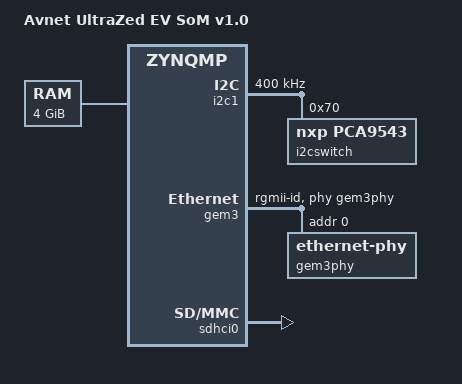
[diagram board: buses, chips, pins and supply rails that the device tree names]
// SPDX-License-Identifier: GPL-2.0+ OR X11

/*
 * UltraZed-EV SoM v1
 * http://ultrazed.org/product/ultrazed-ev
 */

/dts-v1/;

#include "zynqmp.dtsi"
#include "zynqmp-clk-ccf.dtsi"

/ {
	model = "Avnet UltraZed EV SoM v1.0";
	compatible = "avnet,ultrazedev-som-v1.0", "xlnx,zynqmp";
	memory {
		device_type = "memory";
		reg = <0x0 0x0 0x0 0x80000000>, /* 2 GB @ offset 0 */
		      <0x8 0x0 0x0 0x80000000>; /* 2 GB @ offset 32GB */
	};
};

&i2c1 {
	clock-frequency = <400000>;
	status = "okay";

	i2cswitch@70 {
		compatible = "nxp,pca9543";
		#address-cells = <1>;
		#size-cells = <0>;
		reg = <0x70>;

		/* I2C connected to Carrier Card via JX3A1/JX3C1 */
		i2c_cc: i2c@0 {
			reg = <0>;
			#address-cells = <1>;
			#size-cells = <0>;
		};
	};
};

/* Marvell 88E1512-A0-NNP2I000 Ethernet PHY */
&gem3 {
	phy-mode = "rgmii-id";
	phy-handle = <&gem3phy>;
	gem3phy: ethernet-phy@0 {
		reg = <0>;
	};
};

/* Micron MTFC8GAKAJCN-4M 8 GB eMMC */
&sdhci0 {
	status = "okay";
	xlnx,mio-bank = <0>;
	clock-frequency = <199998000>;
};
